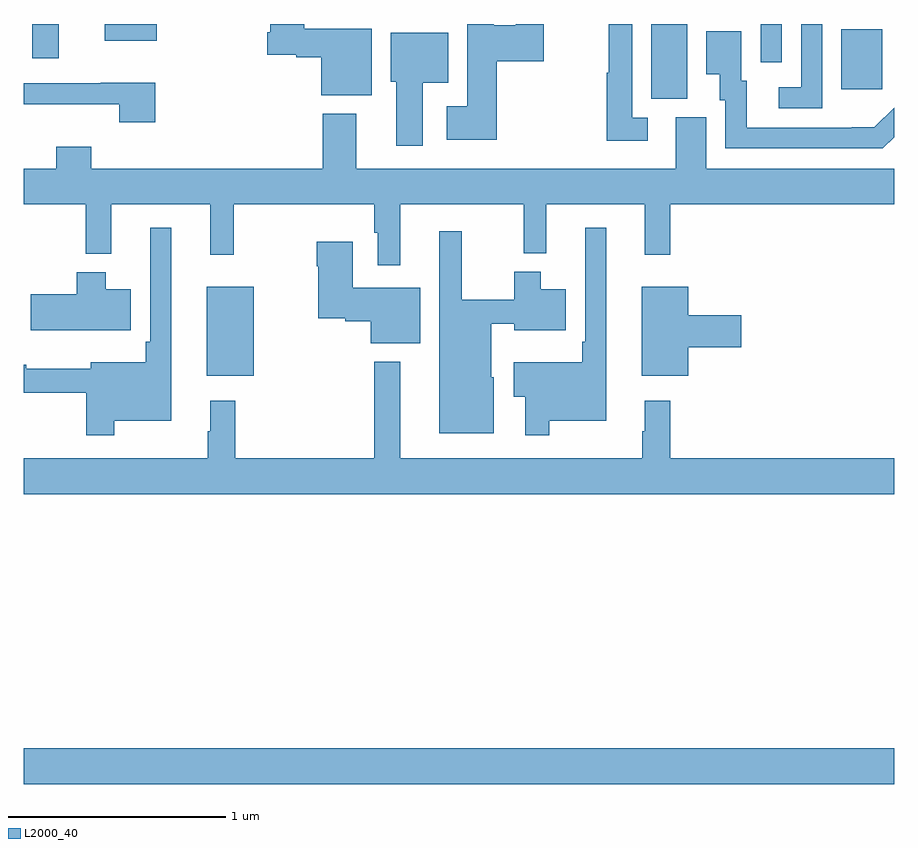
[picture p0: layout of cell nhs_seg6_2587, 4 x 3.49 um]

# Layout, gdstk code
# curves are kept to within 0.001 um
import gdstk
lib = gdstk.Library(unit=1e-6, precision=1e-09)
def R(c, l, rs):  # rectangles x0, y0, x1, y1
    for r in rs: c.add(gdstk.rectangle(r[:2], r[2:], *l))
def P(c, l, *ps):  # polygons
    for p in ps: c.add(gdstk.Polygon(p, *l))
L2000_40 = (2000, 40)

nhs_seg6_2587 = lib.new_cell('nhs_seg6_2587')
R(nhs_seg6_2587, L2000_40, [(265,942.008,269,942.172), (265.841,943.883,266.056,944.293), (267.884,945.157,268.048,945.5), (268.757,945.201,268.945,945.475), (268.386,945.324,268.482,945.5), (265.04,945.342,265.162,945.5), (265.373,945.422,265.612,945.5)])
P(nhs_seg6_2587, L2000_40, [(267.173,945.329),(267.39,945.329),(267.39,945.5),(267.26,945.5),(267.26,945.494),(267.16,945.494),(267.16,945.5),(267.038,945.5),(267.038,945.121),(266.943,945.121),(266.943,944.969),(267.173,944.969)],
  [(268.668,945.5),(268.572,945.5),(268.572,945.21),(268.47,945.21),(268.47,945.114),(268.668,945.114)],
  [(266.599,945.478),(266.29,945.478),(266.29,945.5),(266.132,945.5),(266.132,945.463),(266.12,945.463),(266.12,945.359),(266.253,945.359),(266.253,945.347),(266.366,945.347),(266.366,945.173),(266.599,945.173)],
  [(267.868,945.069),(267.795,945.069),(267.795,945.5),(267.687,945.5),(267.687,945.276),(267.679,945.276),(267.679,944.964),(267.868,944.964)],
  [(269,944.98),(269,945.116),(268.909,945.025),(268.321,945.024),(268.321,945.24),(268.297,945.24),(268.297,945.466),(268.136,945.466),(268.136,945.269),(268.199,945.269),(268.199,945.15),(268.224,945.15),(268.224,944.928),(268.948,944.928)],
  [(266.833,945.23),(266.95,945.23),(266.95,945.46),(266.687,945.46),(266.687,945.234),(266.711,945.234),(266.711,944.94),(266.833,944.94)],
  [(265.604,945.23),(265.355,945.23),(265.355,945.228),(265,945.228),(265,945.131),(265.439,945.131),(265.439,945.048),(265.604,945.048)],
  [(266.731,944.672),(267.298,944.672),(267.298,944.447),(267.401,944.447),(267.401,944.672),(267.854,944.672),(267.854,944.439),(267.971,944.439),(267.971,944.672),(269,944.672),(269,944.836),(268.135,944.836),(268.135,945.072),(267.995,945.072),(267.995,944.836),(266.527,944.836),(266.527,945.088),(266.375,945.088),(266.375,944.836),(265.31,944.836),(265.31,944.935),(265.15,944.935),(265.15,944.836),(265,944.836),(265,944.672),(265.285,944.672),(265.285,944.444),(265.403,944.444),(265.403,944.672),(265.856,944.672),(265.856,944.439),(265.966,944.439),(265.966,944.672),(266.61,944.672),(266.61,944.54),(266.627,944.54),(266.627,944.391),(266.731,944.391)],
  [(265.417,943.676),(265.678,943.676),(265.678,944.563),(265.581,944.563),(265.581,944.041),(265.561,944.041),(265.561,943.945),(265.307,943.945),(265.307,943.915),(265.011,943.915),(265.011,943.934),(265,943.934),(265,943.806),(265.288,943.806),(265.288,943.611),(265.417,943.611)],
  [(267.415,943.676),(267.676,943.676),(267.676,944.563),(267.579,944.563),(267.579,944.041),(267.567,944.041),(267.567,943.945),(267.252,943.945),(267.252,943.787),(267.305,943.787),(267.305,943.611),(267.415,943.611)],
  [(267.16,943.878),(267.148,943.878),(267.148,944.123),(267.254,944.123),(267.254,944.093),(267.49,944.093),(267.49,944.281),(267.376,944.281),(267.376,944.362),(267.254,944.362),(267.254,944.233),(267.013,944.233),(267.013,944.548),(266.909,944.548),(266.909,943.619),(267.16,943.619)],
  [(266.821,944.287),(266.512,944.287),(266.512,944.5),(266.347,944.5),(266.347,944.387),(266.354,944.387),(266.354,944.147),(266.478,944.147),(266.478,944.135),(266.594,944.135),(266.594,944.033),(266.821,944.033)],
  [(265.492,944.281),(265.378,944.281),(265.378,944.359),(265.244,944.359),(265.244,944.259),(265.032,944.259),(265.032,944.093),(265.492,944.093)],
  [(268.054,944.015),(268.297,944.015),(268.297,944.162),(268.054,944.162),(268.054,944.293),(267.839,944.293),(267.839,943.883),(268.054,943.883)],
  [(269,943.504),(267.971,943.504),(267.971,943.768),(267.854,943.768),(267.854,943.628),(267.843,943.628),(267.843,943.504),(266.731,943.504),(266.731,943.948),(266.61,943.948),(266.61,943.504),(265.973,943.504),(265.973,943.768),(265.856,943.768),(265.856,943.628),(265.845,943.628),(265.845,943.504),(265,943.504),(265,943.34),(269,943.34)])

lib.write_gds('nhs_seg6_2587.gds')
